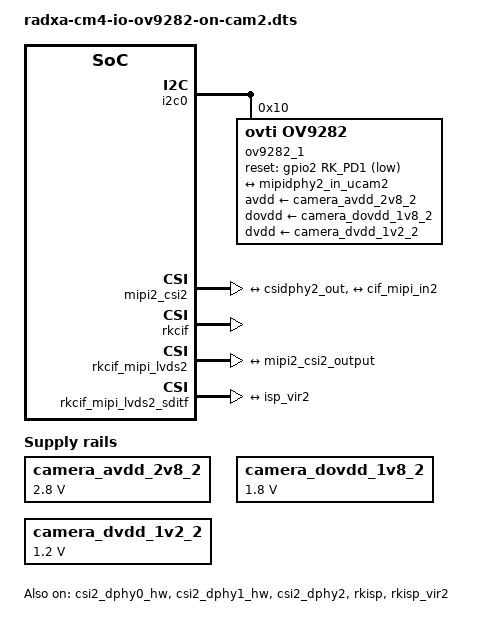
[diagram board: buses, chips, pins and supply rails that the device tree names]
/dts-v1/;
/plugin/;

#include <dt-bindings/gpio/gpio.h>
#include <dt-bindings/pinctrl/rockchip.h>
#include <dt-bindings/clock/rockchip,rk3576-cru.h>

/ {
	metadata {
		title = "Enable OV9282 Camera on CAM2";
		compatible = "radxa,cm4-io";
		category = "camera";
		exclusive = "GPIO2_D1", "csi2_dphy2";
		description = "Enable an OV9282 two-lane MIPI CSI-2 camera on CAM2.";
	};
};

&{/} {
	/*
	 * The OV9282 XVCLK is supplied externally by the carrier board
	 * (24 MHz, 1.8 V).  This fixed-clock node is only a software
	 * representation so the sensor driver has a valid xvclk clock
	 * provider to acquire/enable; it does not drive a SoC clock pin.
	 */
	ov9282_xvclk_2: ov9282-xvclk_2 {
		compatible = "fixed-clock";
		#clock-cells = <0>;
		clock-frequency = <24000000>;
	};

	camera_avdd_2v8_2: camera-avdd-2v8-2 {
		compatible = "regulator-fixed";
		regulator-name = "camera_avdd_2v8_2";
		regulator-min-microvolt = <2800000>;
		regulator-max-microvolt = <2800000>;
		regulator-always-on;
		regulator-boot-on;
	};

	camera_dovdd_1v8_2: camera-dovdd-1v8-2 {
		compatible = "regulator-fixed";
		regulator-name = "camera_dovdd_1v8_2";
		regulator-min-microvolt = <1800000>;
		regulator-max-microvolt = <1800000>;
		regulator-always-on;
		regulator-boot-on;
	};

	camera_dvdd_1v2_2: camera-dvdd-1v2-2 {
		compatible = "regulator-fixed";
		regulator-name = "camera_dvdd_1v2_2";
		regulator-min-microvolt = <1200000>;
		regulator-max-microvolt = <1200000>;
		regulator-always-on;
		regulator-boot-on;
	};
};

&i2c0 {
	status = "okay";
	pinctrl-names = "default";
	pinctrl-0 = <&i2c0m1_xfer>;
	#address-cells = <1>;
	#size-cells = <0>;

	ov9282_1: ov9282@10 {
		status = "okay";
		compatible = "ovti,ov9282";
		reg = <0x10>;

		/*
		 * XVCLK is physically generated off-SoC on the carrier.
		 * Use the fixed software clock above; do not mux/drive CAM_CLK0.
		 */
		clocks = <&ov9282_xvclk_2>;
		clock-names = "xvclk";

		pinctrl-names = "default";
		pinctrl-0 = <&cam_pwdn_gpio_2>;

		/* CAM_RST_3V3 drives an inverting NMOS on the carrier.
		 * Logical reset asserted => SoC pin HIGH => sensor XSHUTDOWN LOW.
		 * GPIO_ACTIVE_LOW makes the OV9282 driver power-on logical 1
		 * drive the SoC pin LOW, releasing XSHUTDOWN to 1.8 V.
		 */
		reset-gpios = <&gpio2 RK_PD1 GPIO_ACTIVE_LOW>;

		avdd-supply = <&camera_avdd_2v8_2>;
		dovdd-supply = <&camera_dovdd_1v8_2>;
		dvdd-supply = <&camera_dvdd_1v2_2>;

		rockchip,camera-module-index = <1>;
		rockchip,camera-module-facing = "back";
		rockchip,camera-module-name = "ov9282";
		rockchip,camera-module-lens-name = "default";

		port {
			ov9282_out2: endpoint {
				remote-endpoint = <&mipidphy2_in_ucam2>;
				data-lanes = <1 2>;
				link-frequencies = /bits/ 64 <400000000>;
			};
		};
	};
};

&csi2_dphy0_hw {
	status = "okay";
};

&csi2_dphy1_hw {
	status = "okay";
};

&csi2_dphy2 {
	status = "okay";

	ports {
		#address-cells = <1>;
		#size-cells = <0>;

		port@0 {
			reg = <0>;
			#address-cells = <1>;
			#size-cells = <0>;

			mipidphy2_in_ucam2: endpoint@2 {
				reg = <2>;
				remote-endpoint = <&ov9282_out2>;
				data-lanes = <1 2>;
			};
		};

		port@1 {
			reg = <1>;
			#address-cells = <1>;
			#size-cells = <0>;

			csidphy2_out: endpoint@0 {
				reg = <0>;
				remote-endpoint = <&mipi2_csi2_input>;
			};
		};
	};
};

&mipi2_csi2 {
	status = "okay";

	ports {
		#address-cells = <1>;
		#size-cells = <0>;

		port@0 {
			reg = <0>;
			#address-cells = <1>;
			#size-cells = <0>;

			mipi2_csi2_input: endpoint@1 {
				reg = <1>;
				remote-endpoint = <&csidphy2_out>;
			};
		};

		port@1 {
			reg = <1>;
			#address-cells = <1>;
			#size-cells = <0>;

			mipi2_csi2_output: endpoint@0 {
				reg = <0>;
				remote-endpoint = <&cif_mipi_in2>;
			};
		};
	};
};

&rkcif {
	status = "okay";
};

&rkcif_mmu {
	status = "okay";
};

&rkcif_mipi_lvds2 {
	status = "okay";

	port {
		cif_mipi_in2: endpoint {
			remote-endpoint = <&mipi2_csi2_output>;
		};
	};
};

&rkcif_mipi_lvds2_sditf {
	status = "okay";

	port {
		mipi_lvds2_sditf: endpoint {
			remote-endpoint = <&isp_vir2>;
		};
	};
};

&rkisp_mmu {
	status = "okay";
};

&rkisp {
	status = "okay";
};

&rkisp_vir2 {
	status = "okay";

	port {
		#address-cells = <1>;
		#size-cells = <0>;

		isp_vir2: endpoint@0 {
			reg = <0>;
			remote-endpoint = <&mipi_lvds2_sditf>;
		};
	};
};

&pinctrl {
	camera {
		cam_pwdn_gpio_2: cam-pwdn-gpio-2 {
			rockchip,pins = <2 RK_PD1 RK_FUNC_GPIO &pcfg_pull_up>;
		};
	};
};
